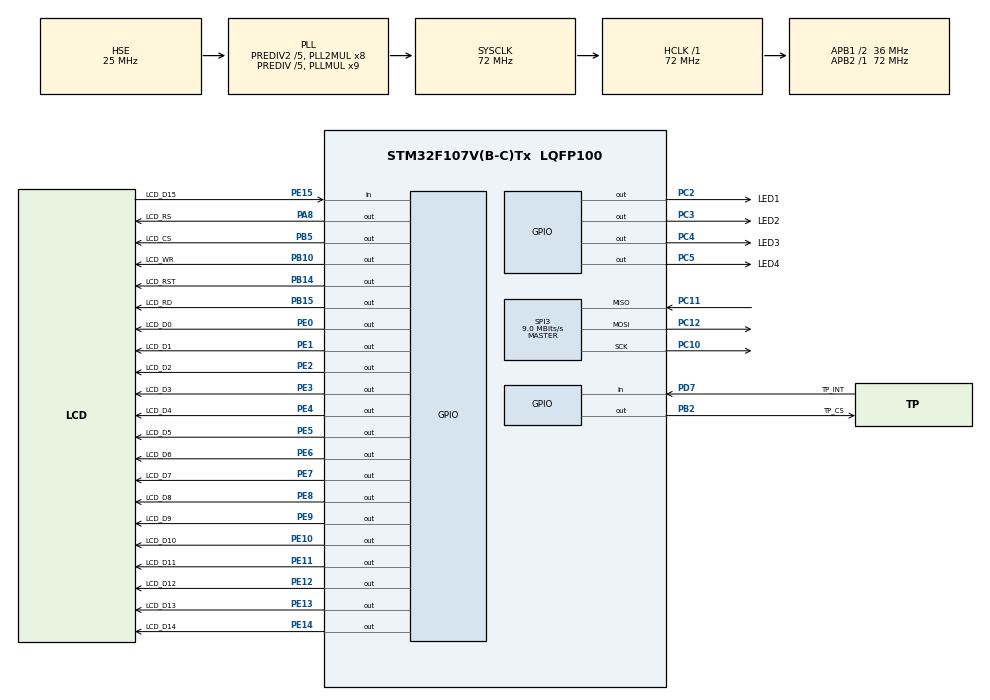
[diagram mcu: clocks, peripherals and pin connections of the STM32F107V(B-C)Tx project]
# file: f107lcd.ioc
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Mcu.Family=STM32F1
Mcu.Name=STM32F107V(B-C)Tx
Mcu.Package=LQFP100
NVIC.PriorityGroup=NVIC_PRIORITYGROUP_4
OSC_IN.Mode=HSE-External-Oscillator
OSC_IN.Signal=RCC_OSC_IN
OSC_OUT.Mode=HSE-External-Oscillator
OSC_OUT.Signal=RCC_OSC_OUT
PA13.Mode=Serial_Wire
PA13.Signal=SYS_JTMS-SWDIO
PA14.Mode=Serial_Wire
PA14.Signal=SYS_JTCK-SWCLK
PA8.GPIO_Label=LCD_RS
PA8.Signal=GPIO_Output
PB10.GPIO_Label=LCD_WR
PB10.Signal=GPIO_Output
PB14.GPIO_Label=LCD_RST
PB14.GPIO_Speed=GPIO_SPEED_FREQ_HIGH
PB14.Signal=GPIO_Output
PB15.GPIO_Label=LCD_RD
PB15.Signal=GPIO_Output
PB2.GPIO_Label=TP_CS
PB2.Signal=GPIO_Output
PB5.GPIO_Label=LCD_CS
PB5.GPIO_Speed=GPIO_SPEED_FREQ_HIGH
PB5.Signal=GPIO_Output
PC10.Mode=Full_Duplex_Master
PC10.Signal=SPI3_SCK
PC11.Mode=Full_Duplex_Master
PC11.Signal=SPI3_MISO
PC12.Mode=Full_Duplex_Master
PC12.Signal=SPI3_MOSI
PC2.GPIO_Label=LED1
PC2.Signal=GPIO_Output
PC3.GPIO_Label=LED2
PC3.Signal=GPIO_Output
PC4.GPIO_Label=LED3
PC4.Signal=GPIO_Output
PC5.GPIO_Label=LED4
PC5.Signal=GPIO_Output
PD7.GPIO_Label=TP_INT
PD7.GPIO_PuPd=GPIO_PULLUP
PD7.Signal=GPIO_Input
PE0.GPIO_Label=LCD_D0
PE0.Signal=GPIO_Output
PE1.GPIO_Label=LCD_D1
PE1.Signal=GPIO_Output
PE10.GPIO_Label=LCD_D10
PE10.Signal=GPIO_Output
PE11.GPIO_Label=LCD_D11
PE11.Signal=GPIO_Output
PE12.GPIO_Label=LCD_D12
PE12.Signal=GPIO_Output
PE13.GPIO_Label=LCD_D13
PE13.Signal=GPIO_Output
PE14.GPIO_Label=LCD_D14
PE14.Signal=GPIO_Output
PE15.GPIO_Label=LCD_D15
PE15.Signal=GPIO_Input
PE2.GPIO_Label=LCD_D2
PE2.Signal=GPIO_Output
PE3.GPIO_Label=LCD_D3
PE3.Signal=GPIO_Output
PE4.GPIO_Label=LCD_D4
PE4.Signal=GPIO_Output
PE5.GPIO_Label=LCD_D5
PE5.Signal=GPIO_Output
PE6.GPIO_Label=LCD_D6
PE6.Signal=GPIO_Output
PE7.GPIO_Label=LCD_D7
PE7.Signal=GPIO_Output
PE8.GPIO_Label=LCD_D8
PE8.Signal=GPIO_Output
PE9.GPIO_Label=LCD_D9
PE9.Signal=GPIO_Output
ProjectManager.HeapSize=0x200
ProjectManager.StackSize=0x400
ProjectManager.TargetToolchain=MDK-ARM V5
RCC.AHBFreq_Value=72000000
RCC.APB1CLKDivider=RCC_HCLK_DIV2
RCC.APB1Freq_Value=36000000
RCC.APB1TimFreq_Value=72000000
RCC.APB2Freq_Value=72000000
RCC.APB2TimFreq_Value=72000000
RCC.HCLKFreq_Value=72000000
RCC.HSEDivPLL=RCC_HSE_PREDIV_DIV5
RCC.HSE_VALUE=25000000
RCC.PLLMUL=RCC_PLL_MUL9
RCC.PLLSourceVirtual=RCC_PLLSOURCE_HSE
RCC.Prediv1Source=RCC_PREDIV1_SOURCE_PLL2
RCC.Prediv2=RCC_HSE_PREDIV2_DIV5
RCC.SYSCLKFreq_VALUE=72000000
RCC.SYSCLKSource=RCC_SYSCLKSOURCE_PLLCLK
RCC.USBFreq_Value=48000000
SPI3.BaudRatePrescaler=SPI_BAUDRATEPRESCALER_4
SPI3.CalculateBaudRate=9.0 MBits/s
SPI3.Direction=SPI_DIRECTION_2LINES
SPI3.Mode=SPI_MODE_MASTER
SPI3.VirtualType=VM_MASTER
VP_CRC_VS_CRC.Mode=CRC_Activate
board=custom

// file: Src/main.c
/* USER CODE BEGIN Header */
/**
  ******************************************************************************
  * @file           : main.c
  * @brief          : Main program body
  ******************************************************************************
  ** This notice applies to any and all portions of this file
  * that are not between comment pairs USER CODE BEGIN and
  * USER CODE END. Other portions of this file, whether
  * inserted by the user or by software development tools
  * are owned by their respective copyright owners.
  *
  * COPYRIGHT(c) 2019 STMicroelectronics
  *
  * Redistribution and use in source and binary forms, with or without modification,
  * are permitted provided that the following conditions are met:
  *   1. Redistributions of source code must retain the above copyright notice,
  *      this list of conditions and the following disclaimer.
  *   2. Redistributions in binary form must reproduce the above copyright notice,
  *      this list of conditions and the following disclaimer in the documentation
  *      and/or other materials provided with the distribution.
  *   3. Neither the name of STMicroelectronics nor the names of its contributors
  *      may be used to endorse or promote products derived from this software
  *      without specific prior written permission.
  *
  * THIS SOFTWARE IS PROVIDED BY THE COPYRIGHT HOLDERS AND CONTRIBUTORS "AS IS"
  * AND ANY EXPRESS OR IMPLIED WARRANTIES, INCLUDING, BUT NOT LIMITED TO, THE
  * IMPLIED WARRANTIES OF MERCHANTABILITY AND FITNESS FOR A PARTICULAR PURPOSE ARE
  * DISCLAIMED. IN NO EVENT SHALL THE COPYRIGHT HOLDER OR CONTRIBUTORS BE LIABLE
  * FOR ANY DIRECT, INDIRECT, INCIDENTAL, SPECIAL, EXEMPLARY, OR CONSEQUENTIAL
  * DAMAGES (INCLUDING, BUT NOT LIMITED TO, PROCUREMENT OF SUBSTITUTE GOODS OR
  * SERVICES; LOSS OF USE, DATA, OR PROFITS; OR BUSINESS INTERRUPTION) HOWEVER
  * CAUSED AND ON ANY THEORY OF LIABILITY, WHETHER IN CONTRACT, STRICT LIABILITY,
  * OR TORT (INCLUDING NEGLIGENCE OR OTHERWISE) ARISING IN ANY WAY OUT OF THE USE
  * OF THIS SOFTWARE, EVEN IF ADVISED OF THE POSSIBILITY OF SUCH DAMAGE.
  *
  ******************************************************************************
  */
/* USER CODE END Header */

#include "main.h"

/* USER CODE BEGIN Includes */
#include "GUI.h"
#include "xpt2046.h"
#include "GUI_Touch_Calibrate.h"
#include "eeprom.h"
#include "DIALOG.h"
/* USER CODE END Includes */

CRC_HandleTypeDef hcrc;

SPI_HandleTypeDef hspi3;

void SystemClock_Config(void);
static void MX_GPIO_Init(void);
static void MX_SPI3_Init(void);
static void MX_CRC_Init(void);
/* USER CODE BEGIN PFP */
extern WM_HWIN CreateWindow(void);
/* USER CODE END PFP */

/* USER CODE BEGIN 0 */
int TPX,TPY;
int CX,CY;
/* USER CODE END 0 */

int main(void)
{

  /* MCU Configuration--------------------------------------------------------*/

  /* Reset of all peripherals, Initializes the Flash interface and the Systick. */
  HAL_Init();

  /* Configure the system clock */
  SystemClock_Config();

  /* Initialize all configured peripherals */
  MX_GPIO_Init();
  MX_SPI3_Init();
  MX_CRC_Init();
  /* USER CODE BEGIN 2 */
	GUI_Init();
	GUI_Clear();
	GUI_SetBkColor(GUI_GREEN);
	GUI_Clear();
	//GUI_CURSOR_Show();

	HAL_FLASH_Unlock();
 	static uint16_t validData;

  EE_Init();

	EE_ReadVariable(14,&validData);

	if(validData == 0)
	{
		exec_calibration(320,240);
		EE_WriteVariable(14,1);
		GUI_Clear();
	}
  else
	{
		read_calibration();
	}

	HAL_FLASH_Lock();

	CreateWindow();
  /* USER CODE END 2 */

  /* Infinite loop */
  while (1)
  {

    /* USER CODE BEGIN 3 */
		Read_Value_1(&TPX,&TPY);
		CX = calibrate_X(TPX,TPY);
		CY = calibrate_Y(TPX,TPY);
		GUI_TOUCH_StoreState(CX,CY);
		GUI_Delay(10);
  }
  /* USER CODE END 3 */
}

void SystemClock_Config(void)
{
  RCC_OscInitTypeDef RCC_OscInitStruct = {0};
  RCC_ClkInitTypeDef RCC_ClkInitStruct = {0};

  /** Initializes the CPU, AHB and APB busses clocks
  */
  RCC_OscInitStruct.OscillatorType = RCC_OSCILLATORTYPE_HSE;
  RCC_OscInitStruct.HSEState = RCC_HSE_ON;
  RCC_OscInitStruct.HSEPredivValue = RCC_HSE_PREDIV_DIV5;
  RCC_OscInitStruct.HSIState = RCC_HSI_ON;
  RCC_OscInitStruct.Prediv1Source = RCC_PREDIV1_SOURCE_PLL2;
  RCC_OscInitStruct.PLL.PLLState = RCC_PLL_ON;
  RCC_OscInitStruct.PLL.PLLSource = RCC_PLLSOURCE_HSE;
  RCC_OscInitStruct.PLL.PLLMUL = RCC_PLL_MUL9;
  RCC_OscInitStruct.PLL2.PLL2State = RCC_PLL2_ON;
  RCC_OscInitStruct.PLL2.PLL2MUL = RCC_PLL2_MUL8;
  RCC_OscInitStruct.PLL2.HSEPrediv2Value = RCC_HSE_PREDIV2_DIV5;
  if (HAL_RCC_OscConfig(&RCC_OscInitStruct) != HAL_OK)
  {
    Error_Handler();
  }
  /** Initializes the CPU, AHB and APB busses clocks
  */
  RCC_ClkInitStruct.ClockType = RCC_CLOCKTYPE_HCLK|RCC_CLOCKTYPE_SYSCLK
                              |RCC_CLOCKTYPE_PCLK1|RCC_CLOCKTYPE_PCLK2;
  RCC_ClkInitStruct.SYSCLKSource = RCC_SYSCLKSOURCE_PLLCLK;
  RCC_ClkInitStruct.AHBCLKDivider = RCC_SYSCLK_DIV1;
  RCC_ClkInitStruct.APB1CLKDivider = RCC_HCLK_DIV2;
  RCC_ClkInitStruct.APB2CLKDivider = RCC_HCLK_DIV1;

  if (HAL_RCC_ClockConfig(&RCC_ClkInitStruct, FLASH_LATENCY_2) != HAL_OK)
  {
    Error_Handler();
  }
  /** Configure the Systick interrupt time
  */
  __HAL_RCC_PLLI2S_ENABLE();
}

static void MX_CRC_Init(void)
{

  hcrc.Instance = CRC;
  if (HAL_CRC_Init(&hcrc) != HAL_OK)
  {
    Error_Handler();
  }

}

static void MX_SPI3_Init(void)
{

  /* SPI3 parameter configuration*/
  hspi3.Instance = SPI3;
  hspi3.Init.Mode = SPI_MODE_MASTER;
  hspi3.Init.Direction = SPI_DIRECTION_2LINES;
  hspi3.Init.DataSize = SPI_DATASIZE_8BIT;
  hspi3.Init.CLKPolarity = SPI_POLARITY_LOW;
  hspi3.Init.CLKPhase = SPI_PHASE_1EDGE;
  hspi3.Init.NSS = SPI_NSS_SOFT;
  hspi3.Init.BaudRatePrescaler = SPI_BAUDRATEPRESCALER_4;
  hspi3.Init.FirstBit = SPI_FIRSTBIT_MSB;
  hspi3.Init.TIMode = SPI_TIMODE_DISABLE;
  hspi3.Init.CRCCalculation = SPI_CRCCALCULATION_DISABLE;
  hspi3.Init.CRCPolynomial = 10;
  if (HAL_SPI_Init(&hspi3) != HAL_OK)
  {
    Error_Handler();
  }

}

static void MX_GPIO_Init(void)
{
  GPIO_InitTypeDef GPIO_InitStruct = {0};

  /* GPIO Ports Clock Enable */
  __HAL_RCC_GPIOE_CLK_ENABLE();
  __HAL_RCC_GPIOC_CLK_ENABLE();
  __HAL_RCC_GPIOB_CLK_ENABLE();
  __HAL_RCC_GPIOA_CLK_ENABLE();
  __HAL_RCC_GPIOD_CLK_ENABLE();

  /*Configure GPIO pin Output Level */
  HAL_GPIO_WritePin(GPIOE, LCD_D2_Pin|LCD_D3_Pin|LCD_D4_Pin|LCD_D5_Pin
                          |LCD_D6_Pin|LCD_D7_Pin|LCD_D8_Pin|LCD_D9_Pin
                          |LCD_D10_Pin|LCD_D11_Pin|LCD_D12_Pin|LCD_D13_Pin
                          |LCD_D14_Pin|LCD_D0_Pin|LCD_D1_Pin, GPIO_PIN_RESET);

  /*Configure GPIO pin Output Level */
  HAL_GPIO_WritePin(GPIOC, LED1_Pin|LED2_Pin|LED3_Pin|LED4_Pin, GPIO_PIN_RESET);

  /*Configure GPIO pin Output Level */
  HAL_GPIO_WritePin(GPIOB, TP_CS_Pin|LCD_WR_Pin|LCD_RST_Pin|LCD_RD_Pin
                          |LCD_CS_Pin, GPIO_PIN_RESET);

  /*Configure GPIO pin Output Level */
  HAL_GPIO_WritePin(LCD_RS_GPIO_Port, LCD_RS_Pin, GPIO_PIN_RESET);

  /*Configure GPIO pins : LCD_D2_Pin LCD_D3_Pin LCD_D4_Pin LCD_D5_Pin
                           LCD_D6_Pin LCD_D7_Pin LCD_D8_Pin LCD_D9_Pin
                           LCD_D10_Pin LCD_D11_Pin LCD_D12_Pin LCD_D13_Pin
                           LCD_D14_Pin LCD_D0_Pin LCD_D1_Pin */
  GPIO_InitStruct.Pin = LCD_D2_Pin|LCD_D3_Pin|LCD_D4_Pin|LCD_D5_Pin
                          |LCD_D6_Pin|LCD_D7_Pin|LCD_D8_Pin|LCD_D9_Pin
                          |LCD_D10_Pin|LCD_D11_Pin|LCD_D12_Pin|LCD_D13_Pin
                          |LCD_D14_Pin|LCD_D0_Pin|LCD_D1_Pin;
  GPIO_InitStruct.Mode = GPIO_MODE_OUTPUT_PP;
  GPIO_InitStruct.Pull = GPIO_NOPULL;
  GPIO_InitStruct.Speed = GPIO_SPEED_FREQ_LOW;
  HAL_GPIO_Init(GPIOE, &GPIO_InitStruct);

  /*Configure GPIO pins : LED1_Pin LED2_Pin LED3_Pin LED4_Pin */
  GPIO_InitStruct.Pin = LED1_Pin|LED2_Pin|LED3_Pin|LED4_Pin;
  GPIO_InitStruct.Mode = GPIO_MODE_OUTPUT_PP;
  GPIO_InitStruct.Pull = GPIO_NOPULL;
  GPIO_InitStruct.Speed = GPIO_SPEED_FREQ_LOW;
  HAL_GPIO_Init(GPIOC, &GPIO_InitStruct);

  /*Configure GPIO pins : TP_CS_Pin LCD_WR_Pin LCD_RD_Pin */
  GPIO_InitStruct.Pin = TP_CS_Pin|LCD_WR_Pin|LCD_RD_Pin;
  GPIO_InitStruct.Mode = GPIO_MODE_OUTPUT_PP;
  GPIO_InitStruct.Pull = GPIO_NOPULL;
  GPIO_InitStruct.Speed = GPIO_SPEED_FREQ_LOW;
  HAL_GPIO_Init(GPIOB, &GPIO_InitStruct);

  /*Configure GPIO pin : LCD_D15_Pin */
  GPIO_InitStruct.Pin = LCD_D15_Pin;
  GPIO_InitStruct.Mode = GPIO_MODE_INPUT;
  GPIO_InitStruct.Pull = GPIO_NOPULL;
  HAL_GPIO_Init(LCD_D15_GPIO_Port, &GPIO_InitStruct);

  /*Configure GPIO pins : LCD_RST_Pin LCD_CS_Pin */
  GPIO_InitStruct.Pin = LCD_RST_Pin|LCD_CS_Pin;
  GPIO_InitStruct.Mode = GPIO_MODE_OUTPUT_PP;
  GPIO_InitStruct.Pull = GPIO_NOPULL;
  GPIO_InitStruct.Speed = GPIO_SPEED_FREQ_HIGH;
  HAL_GPIO_Init(GPIOB, &GPIO_InitStruct);

  /*Configure GPIO pin : LCD_RS_Pin */
  GPIO_InitStruct.Pin = LCD_RS_Pin;
  GPIO_InitStruct.Mode = GPIO_MODE_OUTPUT_PP;
  GPIO_InitStruct.Pull = GPIO_NOPULL;
  GPIO_InitStruct.Speed = GPIO_SPEED_FREQ_LOW;
  HAL_GPIO_Init(LCD_RS_GPIO_Port, &GPIO_InitStruct);

  /*Configure GPIO pin : TP_INT_Pin */
  GPIO_InitStruct.Pin = TP_INT_Pin;
  GPIO_InitStruct.Mode = GPIO_MODE_INPUT;
  GPIO_InitStruct.Pull = GPIO_PULLUP;
  HAL_GPIO_Init(TP_INT_GPIO_Port, &GPIO_InitStruct);

}

void Error_Handler(void)
{
}

/************************ (C) COPYRIGHT STMicroelectronics *****END OF FILE****/
